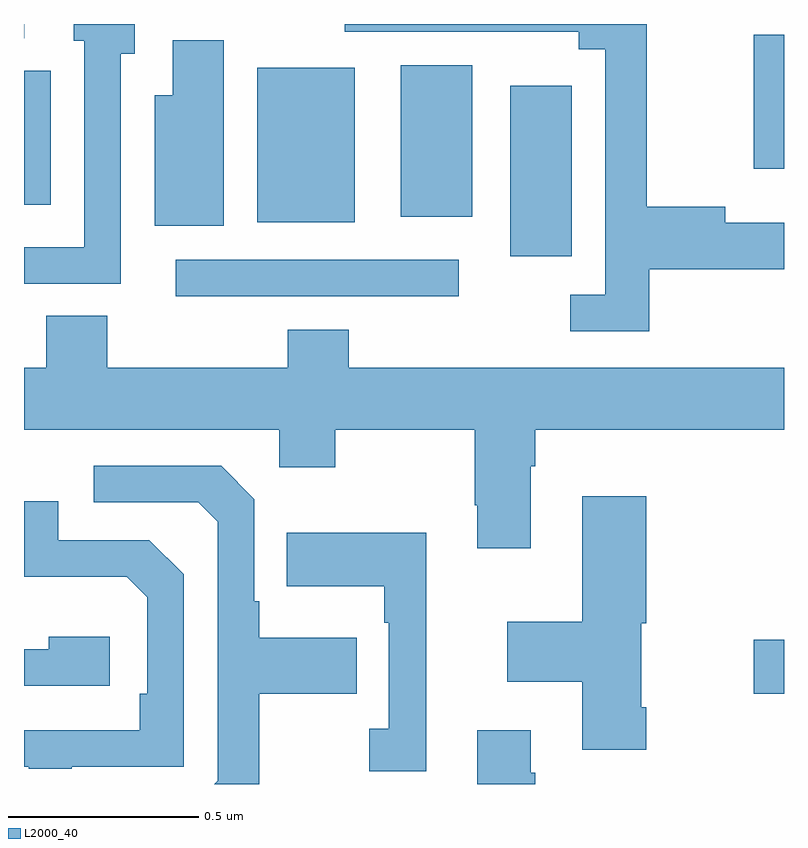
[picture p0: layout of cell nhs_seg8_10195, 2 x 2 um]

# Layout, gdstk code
import gdstk
lib = gdstk.Library(unit=1e-6, precision=1e-09)
def R(c, l, rs):  # rectangles x0, y0, x1, y1
    for r in rs: c.add(gdstk.rectangle(r[:2], r[2:], *l))
def P(c, l, *ps):  # polygons
    for p in ps: c.add(gdstk.Polygon(p, *l))
L2000_40 = (2000, 40)

nhs_seg8_10195 = lib.new_cell('nhs_seg8_10195')
R(nhs_seg8_10195, L2000_40, [(247.92,1117.138,248,1117.28), (246.399,1118.184,247.144,1118.28), (247.28,1118.289,247.441,1118.737), (246.614,1118.378,246.871,1118.785), (246.992,1118.393,247.18,1118.791), (246,1118.424,246.07,1118.777), (247.921,1118.519,248,1118.872), (246,1118.862,246.001,1118.9)])
P(nhs_seg8_10195, L2000_40, [(246.255,1118.822),(246.292,1118.822),(246.292,1118.9),(246.131,1118.9),(246.131,1118.856),(246.159,1118.856),(246.159,1118.313),(246,1118.313),(246,1118.217),(246.255,1118.217)],
  [(247.646,1118.255),(248,1118.255),(248,1118.377),(247.846,1118.377),(247.846,1118.419),(247.639,1118.419),(247.639,1118.9),(246.844,1118.9),(246.844,1118.88),(247.46,1118.88),(247.46,1118.834),(247.53,1118.834),(247.53,1118.187),(247.437,1118.187),(247.437,1118.091),(247.646,1118.091)],
  [(246.526,1118.857),(246.392,1118.857),(246.392,1118.713),(246.344,1118.713),(246.344,1118.369),(246.526,1118.369)],
  [(247.333,1117.736),(247.346,1117.736),(247.346,1117.832),(248,1117.832),(248,1117.996),(246.854,1117.996),(246.854,1118.095),(246.694,1118.095),(246.694,1117.996),(246.219,1117.996),(246.219,1118.132),(246.059,1118.132),(246.059,1117.996),(246,1117.996),(246,1117.832),(246.672,1117.832),(246.672,1117.733),(246.819,1117.733),(246.819,1117.832),(247.186,1117.832),(247.186,1117.633),(247.193,1117.633),(247.193,1117.521),(247.333,1117.521)],
  [(246.619,1117.138),(246.875,1117.138),(246.875,1117.285),(246.619,1117.285),(246.619,1117.381),(246.606,1117.381),(246.606,1117.65),(246.519,1117.737),(246.183,1117.737),(246.183,1117.641),(246.459,1117.641),(246.51,1117.59),(246.51,1116.909),(246.501,1116.9),(246.619,1116.9)],
  [(247.637,1117.102),(247.624,1117.102),(247.624,1117.323),(247.637,1117.323),(247.637,1117.657),(247.469,1117.657),(247.469,1117.327),(247.272,1117.327),(247.272,1117.169),(247.469,1117.169),(247.469,1116.99),(247.637,1116.99)],
  [(246.125,1116.945),(246.42,1116.945),(246.42,1117.452),(246.33,1117.542),(246.09,1117.542),(246.09,1117.644),(246,1117.644),(246,1117.445),(246.271,1117.445),(246.324,1117.392),(246.324,1117.138),(246.304,1117.138),(246.304,1117.041),(246,1117.041),(246,1116.945),(246.013,1116.945),(246.013,1116.94),(246.125,1116.94)],
  [(247.058,1117.561),(246.691,1117.561),(246.691,1117.421),(246.948,1117.421),(246.948,1117.325),(246.96,1117.325),(246.96,1117.046),(246.909,1117.046),(246.909,1116.933),(247.058,1116.933)],
  [(246.226,1117.288),(246.065,1117.288),(246.065,1117.254),(246,1117.254),(246,1117.158),(246.226,1117.158)],
  [(247.346,1116.929),(247.333,1116.929),(247.333,1117.042),(247.193,1117.042),(247.193,1116.9),(247.346,1116.9)])

lib.write_gds('nhs_seg8_10195.gds')
